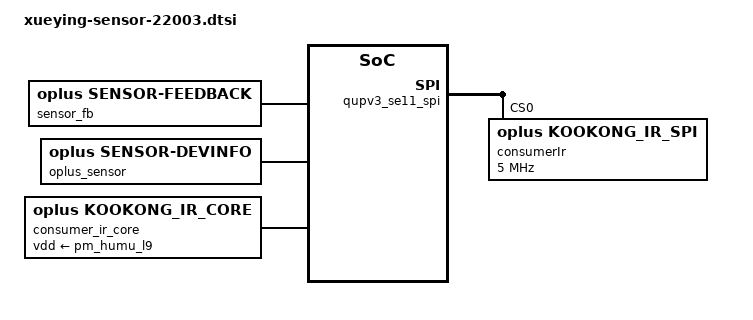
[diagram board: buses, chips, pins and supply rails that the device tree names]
/**********************************************************************************
* Copyright (c)  2022-2024  Guangdong oplus Mobile Comm Corp., Ltd
* Description: oplus sensor dtsi
*
* Version: 1.0
* Date: 2022-07-04
*
* ------------------------------ Revision History: --------------------------------
* <version>         <date>        <author>                <desc>
***********************************************************************************/
&soc {
	//#ifdef OPLUS_FEATURE_SENSOR_SMEM
	sensor_fb: sensor_fb {
		compatible = "oplus,sensor-feedback";
		master-id  = <3>;
		smem-id    = <608>;
	};
	ssc_interactive {
		is-folding-device;
		sup-power-fb;
		need_lb_algo = <1>;

		// big screen
		primary_lb_brl_info {
			brl_thrd_num = <1>;
			brl_thrd = <1>;
			brl_l2h_thrd = <1>;
		};
		// small screen
		secondary_lb_brl_info {
			brl_thrd_num = <1>;
			brl_thrd = <1>;
			brl_l2h_thrd = <1>;
		};
	};
	oplus_sensor {
		compatible = "oplus,sensor-devinfo";
		is-folding-device;
		/*virtual sensor*/
		mag_fusion {
			sensor-type = <6>;//OPLUS_MAG_FUSION
			is-virtual-sensor;
			fusion-type = <1>;//AKM_FUSION
			fold-feature = <1>;
		};
		pad_light@0 {
			sensor-name = <0x01>; // pad tcs3720
			sensor-index = <0>; // source num
			sensor-type = <11>; // pad_light
			first-source = "AC052_P_1_A0002_dsc_cmd";
			second-source = "AC052_P_3_A0003_dsc_cmd";
		};
	};
	consumer_ir_core {
		compatible = "oplus,kookong_ir_core";
		status = "okay";
		vdd-type = <0>; /*0: internal LDO , 1: external LOD*/
		vdd-supply = <&pm_humu_l9>;
		vdd-min-vol = <3160000>;
		vdd-max-vol = <3160000>;
	};
	//#endif /*OPLUS_FEATURE_SENSOR_SMEM*/
};

//add for oplus consumerIr SPI mode
&qupv3_se11_spi{
	status = "ok";
	consumerIr@0 {
		compatible = "oplus,kookong_ir_spi";
		reg = <0>;
		status = "ok";

		spi-max-frequency = <5000000>;    /*4800000,9600000,15000000,19200000*/
		ir-spi-mode = <0>;
	};
};

